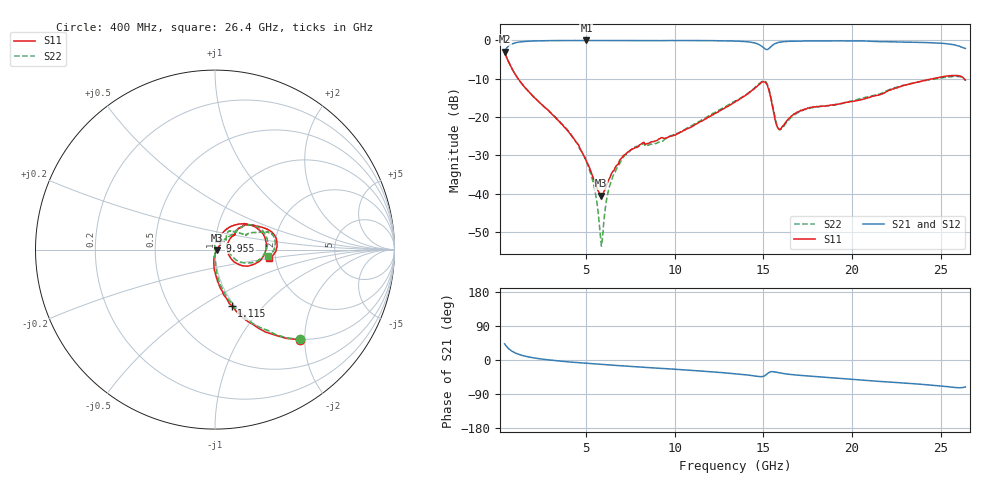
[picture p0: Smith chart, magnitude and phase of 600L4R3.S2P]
!  American Technical Ceramics  Date:  6/18/2004
!  One Norden Lane
!  Huntington Station,  NY.  11746-2102
!  Tel:  (631) 622-4700  Fax:  (631) 622-4748
!  Part Number  600L4R3  Mounting Orientation: Horizontal
!  Description: Ultra Low ESR Microwave capacitors
!  Application: Coupling, Bypass, Tuning, DC Block
!  Filters, Matching
# GHZ S DB R 50
! Freq  |S11|  S11 Ph  |S21|  S21 Ph  |S12|  S12 Ph  |S22|  S22 Ph
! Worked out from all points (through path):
!   401 points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, 400 MHz to 26.4 GHz, reference 50 ohm
!   highest |S21| = -0.04 dB at 5.015 GHz (marker M1); lowest = -2.9 dB at 400 MHz (marker M2)
!   group delay of S21, straight-line fit = 8.74 ps
!   lowest |S11| = -40.5 dB at 5.86 GHz (marker M3), VSWR 1.02, Z = 50.9 - j0.397 ohm
!   |S11| at or under -10 dB: 1.158 GHz to 24.58 GHz (23.42 GHz wide, 182 % of centre); 26.32633 GHz to end of sweep
!   |S22| runs from -53.7 to -3.2 dB; largest |S21 - S12| = 0.0084
!   S11 on the Smith chart (normalised r, x): 400 MHz: 0.99, -1.89; 1.115 GHz: 0.97, -0.68; 9.955 GHz: 1.05, +0.11; 26.4 GHz: 1.84, -0.20
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0.4  -3.23 -46.7  -2.93 42.7  -2.97 42.7  -3.23 -46.5
1.115  -9.72 -73.4  -0.54 16.4  -0.57 16.3  -9.69 -72.4
3.91  -23.34 -95.5  -0.06 -4.6  -0.04 -4.6  -23.16 -88.2
4.755  -29.09 -95.0  -0.05 -7.8  -0.04 -7.9  -29.14 -89.2
5.015  -31.53 -90.7  -0.04 -8.8  -0.03 -8.8  -31.63 -90.0
5.47  -36.68 -72.0  -0.04 -10.4  -0.03 -10.4  -38.60 -95.9
5.86  -40.54 -24.5  -0.04 -11.7  -0.04 -11.7  -53.72 -175.2
6.315  -36.07 23.3  -0.06 -13.2  -0.05 -13.1  -38.18 97.6
7.03  -30.59 40.2  -0.06 -15.4  -0.03 -15.5  -30.96 94.5
7.81  -27.96 44.7  -0.06 -17.8  -0.04 -18.0  -27.74 85.9
9.11  -25.76 56.9  -0.08 -21.8  -0.08 -22.0  -26.60 71.2
9.955  -24.77 61.1  -0.07 -24.3  -0.05 -24.4  -24.55 57.6
13.4  -16.13 55.5  -0.21 -36.1  -0.21 -36.1  -15.86 41.9
14.57  -12.27 33.8  -0.77 -42.7  -0.79 -42.5  -12.18 34.1
15.09  -10.92 0.2  -2.22 -41.2  -2.24 -41.2  -10.62 5.1
15.415  -14.98 -30.5  -1.73 -31.1  -1.75 -31.1  -14.55 -23.9
15.74  -22.09 -18.4  -0.71 -32.4  -0.73 -32.3  -21.78 -12.4
15.935  -23.20 7.0  -0.48 -34.2  -0.49 -34.1  -23.42 14.0
17.755  -17.43 37.0  -0.17 -43.2  -0.16 -43.1  -17.63 52.0
22.11  -13.00 38.4  -0.38 -58.2  -0.37 -58.2  -12.88 24.6
25.23  -9.41 14.9  -0.86 -69.6  -0.85 -69.3  -9.70 15.9
26.4  -10.36 -9.3  -2.12 -71.0  -2.10 -71.3  -10.45 -7.1
